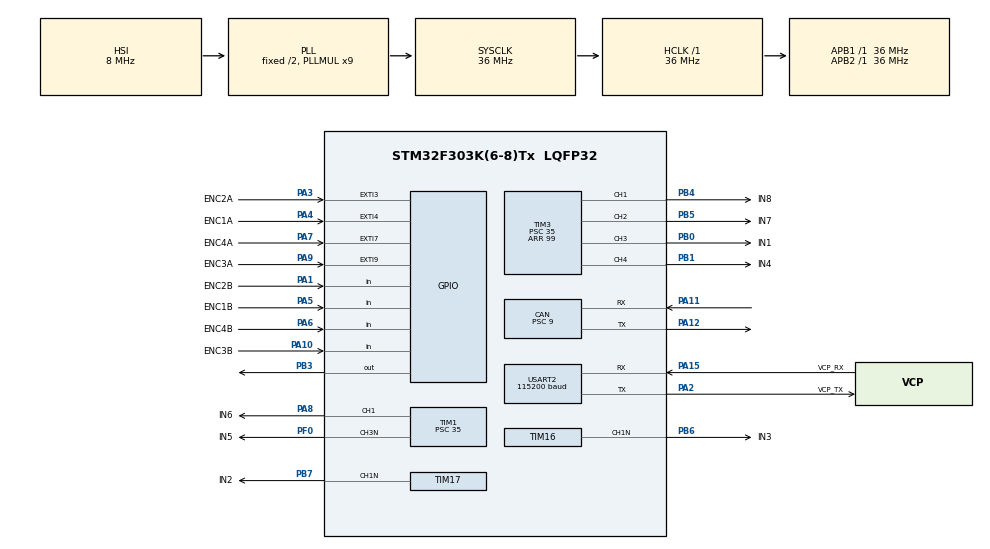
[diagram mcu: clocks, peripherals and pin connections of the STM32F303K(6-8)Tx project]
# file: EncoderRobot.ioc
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CAN.ABOM=ENABLE
CAN.AWUM=ENABLE
CAN.BS1=CAN_BS1_13TQ
CAN.BS2=CAN_BS2_2TQ
CAN.CalculateBaudRate=250000
CAN.CalculateTimeBit=4000
CAN.CalculateTimeQuantum=250.0
CAN.NART=ENABLE
CAN.Prescaler=9
CAN.RFLM=ENABLE
CAN.TTCM=ENABLE
CAN.TXFP=ENABLE
Mcu.Family=STM32F3
Mcu.Name=STM32F303K(6-8)Tx
Mcu.Package=LQFP32
NVIC.CAN_RX0_IRQn=true\:1\:0\:true\:false\:true\:true\:true\:true
NVIC.PriorityGroup=NVIC_PRIORITYGROUP_4
NVIC.TIM6_DAC1_IRQn=true\:0\:0\:true\:false\:true\:true\:true\:true
PA1.GPIO_Label=ENC2B
PA1.GPIO_PuPd=GPIO_PULLUP
PA1.Signal=GPIO_Input
PA10.GPIO_Label=ENC3B
PA10.GPIO_PuPd=GPIO_PULLUP
PA10.Signal=GPIO_Input
PA11.Mode=CAN_Activate
PA11.Signal=CAN_RX
PA12.Mode=CAN_Activate
PA12.Signal=CAN_TX
PA13.GPIO_Label=SWDIO
PA13.Mode=Serial_Wire
PA13.Signal=SYS_JTMS-SWDIO
PA14.GPIO_Label=SWCLK
PA14.Mode=Serial_Wire
PA14.Signal=SYS_JTCK-SWCLK
PA15.GPIO_Label=VCP_RX
PA15.Mode=Asynchronous
PA15.Signal=USART2_RX
PA2.GPIO_Label=VCP_TX
PA2.Mode=Asynchronous
PA2.Signal=USART2_TX
PA3.GPIO_Label=ENC2A
PA3.GPIO_PuPd=GPIO_PULLUP
PA3.Signal=GPXTI3
PA4.GPIO_Label=ENC1A
PA4.GPIO_PuPd=GPIO_PULLUP
PA4.Signal=GPXTI4
PA5.GPIO_Label=ENC1B
PA5.GPIO_PuPd=GPIO_PULLUP
PA5.Signal=GPIO_Input
PA6.GPIO_Label=ENC4B
PA6.GPIO_PuPd=GPIO_PULLUP
PA6.Signal=GPIO_Input
PA7.GPIO_Label=ENC4A
PA7.GPIO_PuPd=GPIO_PULLUP
PA7.Signal=GPXTI7
PA8.GPIO_Label=IN6
PA8.Signal=S_TIM1_CH1
PA9.GPIO_Label=ENC3A
PA9.GPIO_PuPd=GPIO_PULLUP
PA9.Signal=GPXTI9
PB0.GPIO_Label=IN1
PB0.Signal=S_TIM3_CH3
PB1.GPIO_Label=IN4
PB1.Signal=S_TIM3_CH4
PB3.Signal=GPIO_Output
PB4.GPIO_Label=IN8
PB4.Signal=S_TIM3_CH1
PB5.GPIO_Label=IN7
PB5.Signal=S_TIM3_CH2
PB6.GPIO_Label=IN3
PB6.Mode=PWM Generation1 CH1N
PB6.Signal=TIM16_CH1N
PB7.GPIO_Label=IN2
PB7.Mode=PWM Generation1 CH1N
PB7.Signal=TIM17_CH1N
PF0\ /\ OSC_IN.GPIO_Label=IN5
PF0\ /\ OSC_IN.Mode=PWM Generation3 CH3N
PF0\ /\ OSC_IN.Signal=TIM1_CH3N
ProjectManager.HeapSize=0x200
ProjectManager.StackSize=0x400
ProjectManager.TargetToolchain=STM32CubeIDE
RCC.AHBFreq_Value=36000000
RCC.APB1Freq_Value=36000000
RCC.APB1TimFreq_Value=36000000
RCC.APB2Freq_Value=36000000
RCC.APB2TimFreq_Value=36000000
RCC.CortexFreq_Value=36000000
RCC.HCLKFreq_Value=36000000
RCC.HSE_VALUE=8000000
RCC.HSI_VALUE=8000000
RCC.PLLMUL=RCC_PLL_MUL9
RCC.SYSCLKFreq_VALUE=36000000
RCC.SYSCLKSourceVirtual=RCC_SYSCLKSOURCE_PLLCLK
SH.S_TIM1_CH1.0=TIM1_CH1,PWM Generation1 CH1
SH.S_TIM3_CH1.0=TIM3_CH1,PWM Generation1 CH1
SH.S_TIM3_CH2.0=TIM3_CH2,PWM Generation2 CH2
SH.S_TIM3_CH3.0=TIM3_CH3,PWM Generation3 CH3
SH.S_TIM3_CH4.0=TIM3_CH4,PWM Generation4 CH4
TIM1.Channel-PWM\ Generation1\ CH1=TIM_CHANNEL_1
TIM1.Channel-PWM\ Generation3\ CH3N=TIM_CHANNEL_3
TIM1.Period=99
TIM1.Prescaler=35
TIM16.Channel=TIM_CHANNEL_1
TIM16.Period=99
TIM16.Prescaler=35
TIM17.Channel=TIM_CHANNEL_1
TIM17.Period=99
TIM17.Prescaler=35
TIM2.Channel-PWM\ Generation1\ CH1=TIM_CHANNEL_1
TIM3.Channel-PWM\ Generation1\ CH1=TIM_CHANNEL_1
TIM3.Channel-PWM\ Generation2\ CH2=TIM_CHANNEL_2
TIM3.Channel-PWM\ Generation3\ CH3=TIM_CHANNEL_3
TIM3.Channel-PWM\ Generation4\ CH4=TIM_CHANNEL_4
TIM3.Period=99
TIM3.Prescaler=35
TIM6.Period=199
TIM6.Prescaler=35
USART2.BaudRate=115200
USART2.VirtualMode-Asynchronous=VM_ASYNC
VP_TIM16_VS_ClockSourceINT.Mode=Enable_Timer
VP_TIM17_VS_ClockSourceINT.Mode=Enable_Timer
VP_TIM1_VS_ClockSourceINT.Mode=Internal
VP_TIM2_VS_ClockSourceINT.Mode=Internal
VP_TIM3_VS_ClockSourceINT.Mode=Internal
VP_TIM6_VS_ClockSourceINT.Mode=Enable_Timer
board=NUCLEO-F303K8

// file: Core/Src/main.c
/* USER CODE BEGIN Header */
/**
 ******************************************************************************
 * @file           : main.c
 * @brief          : Main program body
 ******************************************************************************
 * @attention
 *
 * Copyright (c) 2023 STMicroelectronics.
 * All rights reserved.
 *
 * This software is licensed under terms that can be found in the LICENSE file
 * in the root directory of this software component.
 * If no LICENSE file comes with this software, it is provided AS-IS.
 *
 ******************************************************************************
 */
/* USER CODE END Header */
#include "main.h"

/* USER CODE BEGIN Includes */
#include <stdio.h>
#include "control_motores.h"
#include "comunicaciones.h"
/* USER CODE END Includes */

/* USER CODE BEGIN PD */
void setCanFilter();
/* USER CODE END PD */

CAN_HandleTypeDef hcan;

TIM_HandleTypeDef htim1;
TIM_HandleTypeDef htim2;
TIM_HandleTypeDef htim3;
TIM_HandleTypeDef htim6;
TIM_HandleTypeDef htim16;
TIM_HandleTypeDef htim17;

UART_HandleTypeDef huart2;

/* USER CODE BEGIN PV */
int bandera = 0;
int16_t contIzqTras = 0;
float contIzqTrasMedia = 0;
float contIzqTrasTemp = 0;
int16_t contIzqDel = 0;
float contIzqDelMedia = 0;
float contIzqDelTemp = 0;
int16_t contDchDel = 0;
float contDchDelMedia = 0;
float contDchDelTemp = 0;
int16_t contDchTras = 0;
float contDchTrasMedia = 0;
float contDchTrasTemp = 0;

float rpmIzqTras;
float rpmIzqDel;
float rpmDchDel;
float rpmDchTras;

float filtRpmIzqTras;
float filtRpmIzqDel;
float filtRpmDchDel;
float filtRpmDchTras;

struct pid_motor PIDmotorIzqTras;
struct pid_motor PIDmotorIzqDel;
struct pid_motor PIDmotorDchTras;
struct pid_motor PIDmotorDchDel;

uint8_t RxData[8];
uint8_t TxData[8];
CAN_RxHeaderTypeDef RxHeader;
CAN_TxHeaderTypeDef TxHeader;
uint32_t TxMailbox;

/* USER CODE END PV */

void SystemClock_Config(void);
static void MX_GPIO_Init(void);
static void MX_USART2_UART_Init(void);
static void MX_CAN_Init(void);
static void MX_TIM1_Init(void);
static void MX_TIM3_Init(void);
static void MX_TIM16_Init(void);
static void MX_TIM17_Init(void);
static void MX_TIM2_Init(void);
static void MX_TIM6_Init(void);

int main(void)
{

  /* MCU Configuration--------------------------------------------------------*/

  /* Reset of all peripherals, Initializes the Flash interface and the Systick. */
  HAL_Init();

  /* Configure the system clock */
  SystemClock_Config();

  /* Initialize all configured peripherals */
  MX_GPIO_Init();
  MX_USART2_UART_Init();
  MX_CAN_Init();
  MX_TIM1_Init();
  MX_TIM3_Init();
  MX_TIM16_Init();
  MX_TIM17_Init();
  MX_TIM2_Init();
  MX_TIM6_Init();
  /* USER CODE BEGIN 2 */
	HAL_TIM_Base_Start_IT(&htim6);
	setCanFilter();
	initMotores();
	PIDmotorIzqTras.velDeseada = 0; //MAX 120
	PIDmotorIzqDel.velDeseada = 0;
	PIDmotorDchTras.velDeseada = 0;
	PIDmotorDchDel.velDeseada = 0;
	//motorIzqDel(100);
	//motorIzqTras(100);
	//motorDchDel(100);
	//motorDchTras(100);
  /* USER CODE END 2 */

  /* Infinite loop */
  /* USER CODE BEGIN WHILE */
	while (1) {
		if (bandera == 1) {
			bandera = 0;

			//HAL_GPIO_TogglePin(GPIOB, GPIO_PIN_3);
			calculaRPM();

			char buffer[16];
			//HAL_UART_Transmit(&huart2, (uint8_t*) buffer,
			//		sprintf(buffer, "c1:%d c2:%d c3:%d c4:%d \n", cont1, cont2,
			//				cont3, cont4), 500);

			HAL_UART_Transmit(&huart2, (uint8_t*) buffer,
					sprintf(buffer, "c1:%.2f c2:%.2f c3:%.2f c3:%.2f\n",
							rpmIzqDel, rpmDchDel, rpmIzqTras, rpmDchTras), 500);
			enviarDatosCan();
		}

    /* USER CODE END WHILE */

	}
}

void SystemClock_Config(void)
{
  RCC_OscInitTypeDef RCC_OscInitStruct = {0};
  RCC_ClkInitTypeDef RCC_ClkInitStruct = {0};
  RCC_PeriphCLKInitTypeDef PeriphClkInit = {0};

  /** Initializes the RCC Oscillators according to the specified parameters
  * in the RCC_OscInitTypeDef structure.
  */
  RCC_OscInitStruct.OscillatorType = RCC_OSCILLATORTYPE_HSI;
  RCC_OscInitStruct.HSIState = RCC_HSI_ON;
  RCC_OscInitStruct.HSICalibrationValue = RCC_HSICALIBRATION_DEFAULT;
  RCC_OscInitStruct.PLL.PLLState = RCC_PLL_ON;
  RCC_OscInitStruct.PLL.PLLSource = RCC_PLLSOURCE_HSI;
  RCC_OscInitStruct.PLL.PLLMUL = RCC_PLL_MUL9;
  if (HAL_RCC_OscConfig(&RCC_OscInitStruct) != HAL_OK)
  {
    Error_Handler();
  }

  /** Initializes the CPU, AHB and APB buses clocks
  */
  RCC_ClkInitStruct.ClockType = RCC_CLOCKTYPE_HCLK|RCC_CLOCKTYPE_SYSCLK
                              |RCC_CLOCKTYPE_PCLK1|RCC_CLOCKTYPE_PCLK2;
  RCC_ClkInitStruct.SYSCLKSource = RCC_SYSCLKSOURCE_PLLCLK;
  RCC_ClkInitStruct.AHBCLKDivider = RCC_SYSCLK_DIV1;
  RCC_ClkInitStruct.APB1CLKDivider = RCC_HCLK_DIV1;
  RCC_ClkInitStruct.APB2CLKDivider = RCC_HCLK_DIV1;

  if (HAL_RCC_ClockConfig(&RCC_ClkInitStruct, FLASH_LATENCY_1) != HAL_OK)
  {
    Error_Handler();
  }
  PeriphClkInit.PeriphClockSelection = RCC_PERIPHCLK_TIM1;
  PeriphClkInit.Tim1ClockSelection = RCC_TIM1CLK_HCLK;
  if (HAL_RCCEx_PeriphCLKConfig(&PeriphClkInit) != HAL_OK)
  {
    Error_Handler();
  }
}

static void MX_CAN_Init(void)
{

  hcan.Instance = CAN;
  hcan.Init.Prescaler = 9;
  hcan.Init.Mode = CAN_MODE_NORMAL;
  hcan.Init.SyncJumpWidth = CAN_SJW_1TQ;
  hcan.Init.TimeSeg1 = CAN_BS1_13TQ;
  hcan.Init.TimeSeg2 = CAN_BS2_2TQ;
  hcan.Init.TimeTriggeredMode = ENABLE;
  hcan.Init.AutoBusOff = ENABLE;
  hcan.Init.AutoWakeUp = ENABLE;
  hcan.Init.AutoRetransmission = DISABLE;
  hcan.Init.ReceiveFifoLocked = ENABLE;
  hcan.Init.TransmitFifoPriority = ENABLE;
  if (HAL_CAN_Init(&hcan) != HAL_OK)
  {
    Error_Handler();
  }

}

static void MX_TIM1_Init(void)
{

  TIM_ClockConfigTypeDef sClockSourceConfig = {0};
  TIM_MasterConfigTypeDef sMasterConfig = {0};
  TIM_OC_InitTypeDef sConfigOC = {0};
  TIM_BreakDeadTimeConfigTypeDef sBreakDeadTimeConfig = {0};

  htim1.Instance = TIM1;
  htim1.Init.Prescaler = 35;
  htim1.Init.CounterMode = TIM_COUNTERMODE_UP;
  htim1.Init.Period = 99;
  htim1.Init.ClockDivision = TIM_CLOCKDIVISION_DIV1;
  htim1.Init.RepetitionCounter = 0;
  htim1.Init.AutoReloadPreload = TIM_AUTORELOAD_PRELOAD_DISABLE;
  if (HAL_TIM_Base_Init(&htim1) != HAL_OK)
  {
    Error_Handler();
  }
  sClockSourceConfig.ClockSource = TIM_CLOCKSOURCE_INTERNAL;
  if (HAL_TIM_ConfigClockSource(&htim1, &sClockSourceConfig) != HAL_OK)
  {
    Error_Handler();
  }
  if (HAL_TIM_PWM_Init(&htim1) != HAL_OK)
  {
    Error_Handler();
  }
  sMasterConfig.MasterOutputTrigger = TIM_TRGO_RESET;
  sMasterConfig.MasterOutputTrigger2 = TIM_TRGO2_RESET;
  sMasterConfig.MasterSlaveMode = TIM_MASTERSLAVEMODE_DISABLE;
  if (HAL_TIMEx_MasterConfigSynchronization(&htim1, &sMasterConfig) != HAL_OK)
  {
    Error_Handler();
  }
  sConfigOC.OCMode = TIM_OCMODE_PWM1;
  sConfigOC.Pulse = 0;
  sConfigOC.OCPolarity = TIM_OCPOLARITY_HIGH;
  sConfigOC.OCNPolarity = TIM_OCNPOLARITY_HIGH;
  sConfigOC.OCFastMode = TIM_OCFAST_DISABLE;
  sConfigOC.OCIdleState = TIM_OCIDLESTATE_RESET;
  sConfigOC.OCNIdleState = TIM_OCNIDLESTATE_RESET;
  if (HAL_TIM_PWM_ConfigChannel(&htim1, &sConfigOC, TIM_CHANNEL_1) != HAL_OK)
  {
    Error_Handler();
  }
  if (HAL_TIM_PWM_ConfigChannel(&htim1, &sConfigOC, TIM_CHANNEL_3) != HAL_OK)
  {
    Error_Handler();
  }
  sBreakDeadTimeConfig.OffStateRunMode = TIM_OSSR_DISABLE;
  sBreakDeadTimeConfig.OffStateIDLEMode = TIM_OSSI_DISABLE;
  sBreakDeadTimeConfig.LockLevel = TIM_LOCKLEVEL_OFF;
  sBreakDeadTimeConfig.DeadTime = 0;
  sBreakDeadTimeConfig.BreakState = TIM_BREAK_DISABLE;
  sBreakDeadTimeConfig.BreakPolarity = TIM_BREAKPOLARITY_HIGH;
  sBreakDeadTimeConfig.BreakFilter = 0;
  sBreakDeadTimeConfig.Break2State = TIM_BREAK2_DISABLE;
  sBreakDeadTimeConfig.Break2Polarity = TIM_BREAK2POLARITY_HIGH;
  sBreakDeadTimeConfig.Break2Filter = 0;
  sBreakDeadTimeConfig.AutomaticOutput = TIM_AUTOMATICOUTPUT_DISABLE;
  if (HAL_TIMEx_ConfigBreakDeadTime(&htim1, &sBreakDeadTimeConfig) != HAL_OK)
  {
    Error_Handler();
  }
  HAL_TIM_MspPostInit(&htim1);

}

static void MX_TIM2_Init(void)
{

  TIM_ClockConfigTypeDef sClockSourceConfig = {0};
  TIM_MasterConfigTypeDef sMasterConfig = {0};

  htim2.Instance = TIM2;
  htim2.Init.Prescaler = 0;
  htim2.Init.CounterMode = TIM_COUNTERMODE_UP;
  htim2.Init.Period = 4294967295;
  htim2.Init.ClockDivision = TIM_CLOCKDIVISION_DIV1;
  htim2.Init.AutoReloadPreload = TIM_AUTORELOAD_PRELOAD_DISABLE;
  if (HAL_TIM_Base_Init(&htim2) != HAL_OK)
  {
    Error_Handler();
  }
  sClockSourceConfig.ClockSource = TIM_CLOCKSOURCE_INTERNAL;
  if (HAL_TIM_ConfigClockSource(&htim2, &sClockSourceConfig) != HAL_OK)
  {
    Error_Handler();
  }
  sMasterConfig.MasterOutputTrigger = TIM_TRGO_RESET;
  sMasterConfig.MasterSlaveMode = TIM_MASTERSLAVEMODE_DISABLE;
  if (HAL_TIMEx_MasterConfigSynchronization(&htim2, &sMasterConfig) != HAL_OK)
  {
    Error_Handler();
  }

}

static void MX_TIM3_Init(void)
{

  TIM_ClockConfigTypeDef sClockSourceConfig = {0};
  TIM_MasterConfigTypeDef sMasterConfig = {0};
  TIM_OC_InitTypeDef sConfigOC = {0};

  htim3.Instance = TIM3;
  htim3.Init.Prescaler = 35;
  htim3.Init.CounterMode = TIM_COUNTERMODE_UP;
  htim3.Init.Period = 99;
  htim3.Init.ClockDivision = TIM_CLOCKDIVISION_DIV1;
  htim3.Init.AutoReloadPreload = TIM_AUTORELOAD_PRELOAD_DISABLE;
  if (HAL_TIM_Base_Init(&htim3) != HAL_OK)
  {
    Error_Handler();
  }
  sClockSourceConfig.ClockSource = TIM_CLOCKSOURCE_INTERNAL;
  if (HAL_TIM_ConfigClockSource(&htim3, &sClockSourceConfig) != HAL_OK)
  {
    Error_Handler();
  }
  if (HAL_TIM_PWM_Init(&htim3) != HAL_OK)
  {
    Error_Handler();
  }
  sMasterConfig.MasterOutputTrigger = TIM_TRGO_RESET;
  sMasterConfig.MasterSlaveMode = TIM_MASTERSLAVEMODE_DISABLE;
  if (HAL_TIMEx_MasterConfigSynchronization(&htim3, &sMasterConfig) != HAL_OK)
  {
    Error_Handler();
  }
  sConfigOC.OCMode = TIM_OCMODE_PWM1;
  sConfigOC.Pulse = 0;
  sConfigOC.OCPolarity = TIM_OCPOLARITY_HIGH;
  sConfigOC.OCFastMode = TIM_OCFAST_DISABLE;
  if (HAL_TIM_PWM_ConfigChannel(&htim3, &sConfigOC, TIM_CHANNEL_1) != HAL_OK)
  {
    Error_Handler();
  }
  if (HAL_TIM_PWM_ConfigChannel(&htim3, &sConfigOC, TIM_CHANNEL_2) != HAL_OK)
  {
    Error_Handler();
  }
  if (HAL_TIM_PWM_ConfigChannel(&htim3, &sConfigOC, TIM_CHANNEL_3) != HAL_OK)
  {
    Error_Handler();
  }
  if (HAL_TIM_PWM_ConfigChannel(&htim3, &sConfigOC, TIM_CHANNEL_4) != HAL_OK)
  {
    Error_Handler();
  }
  HAL_TIM_MspPostInit(&htim3);

}

static void MX_TIM6_Init(void)
{

  TIM_MasterConfigTypeDef sMasterConfig = {0};

  htim6.Instance = TIM6;
  htim6.Init.Prescaler = 35;
  htim6.Init.CounterMode = TIM_COUNTERMODE_UP;
  htim6.Init.Period = 199;
  htim6.Init.AutoReloadPreload = TIM_AUTORELOAD_PRELOAD_DISABLE;
  if (HAL_TIM_Base_Init(&htim6) != HAL_OK)
  {
    Error_Handler();
  }
  sMasterConfig.MasterOutputTrigger = TIM_TRGO_RESET;
  sMasterConfig.MasterSlaveMode = TIM_MASTERSLAVEMODE_DISABLE;
  if (HAL_TIMEx_MasterConfigSynchronization(&htim6, &sMasterConfig) != HAL_OK)
  {
    Error_Handler();
  }

}

static void MX_TIM16_Init(void)
{

  TIM_OC_InitTypeDef sConfigOC = {0};
  TIM_BreakDeadTimeConfigTypeDef sBreakDeadTimeConfig = {0};

  htim16.Instance = TIM16;
  htim16.Init.Prescaler = 35;
  htim16.Init.CounterMode = TIM_COUNTERMODE_UP;
  htim16.Init.Period = 99;
  htim16.Init.ClockDivision = TIM_CLOCKDIVISION_DIV1;
  htim16.Init.RepetitionCounter = 0;
  htim16.Init.AutoReloadPreload = TIM_AUTORELOAD_PRELOAD_DISABLE;
  if (HAL_TIM_Base_Init(&htim16) != HAL_OK)
  {
    Error_Handler();
  }
  if (HAL_TIM_PWM_Init(&htim16) != HAL_OK)
  {
    Error_Handler();
  }
  sConfigOC.OCMode = TIM_OCMODE_PWM1;
  sConfigOC.Pulse = 0;
  sConfigOC.OCPolarity = TIM_OCPOLARITY_HIGH;
  sConfigOC.OCNPolarity = TIM_OCNPOLARITY_HIGH;
  sConfigOC.OCFastMode = TIM_OCFAST_DISABLE;
  sConfigOC.OCIdleState = TIM_OCIDLESTATE_RESET;
  sConfigOC.OCNIdleState = TIM_OCNIDLESTATE_RESET;
  if (HAL_TIM_PWM_ConfigChannel(&htim16, &sConfigOC, TIM_CHANNEL_1) != HAL_OK)
  {
    Error_Handler();
  }
  sBreakDeadTimeConfig.OffStateRunMode = TIM_OSSR_DISABLE;
  sBreakDeadTimeConfig.OffStateIDLEMode = TIM_OSSI_DISABLE;
  sBreakDeadTimeConfig.LockLevel = TIM_LOCKLEVEL_OFF;
  sBreakDeadTimeConfig.DeadTime = 0;
  sBreakDeadTimeConfig.BreakState = TIM_BREAK_DISABLE;
  sBreakDeadTimeConfig.BreakPolarity = TIM_BREAKPOLARITY_HIGH;
  sBreakDeadTimeConfig.BreakFilter = 0;
  sBreakDeadTimeConfig.AutomaticOutput = TIM_AUTOMATICOUTPUT_DISABLE;
  if (HAL_TIMEx_ConfigBreakDeadTime(&htim16, &sBreakDeadTimeConfig) != HAL_OK)
  {
    Error_Handler();
  }
  HAL_TIM_MspPostInit(&htim16);

}

static void MX_TIM17_Init(void)
{

  TIM_OC_InitTypeDef sConfigOC = {0};
  TIM_BreakDeadTimeConfigTypeDef sBreakDeadTimeConfig = {0};

  htim17.Instance = TIM17;
  htim17.Init.Prescaler = 35;
  htim17.Init.CounterMode = TIM_COUNTERMODE_UP;
  htim17.Init.Period = 99;
  htim17.Init.ClockDivision = TIM_CLOCKDIVISION_DIV1;
  htim17.Init.RepetitionCounter = 0;
  htim17.Init.AutoReloadPreload = TIM_AUTORELOAD_PRELOAD_DISABLE;
  if (HAL_TIM_Base_Init(&htim17) != HAL_OK)
  {
    Error_Handler();
  }
  if (HAL_TIM_PWM_Init(&htim17) != HAL_OK)
  {
    Error_Handler();
  }
  sConfigOC.OCMode = TIM_OCMODE_PWM1;
  sConfigOC.Pulse = 0;
  sConfigOC.OCPolarity = TIM_OCPOLARITY_HIGH;
  sConfigOC.OCNPolarity = TIM_OCNPOLARITY_HIGH;
  sConfigOC.OCFastMode = TIM_OCFAST_DISABLE;
  sConfigOC.OCIdleState = TIM_OCIDLESTATE_RESET;
  sConfigOC.OCNIdleState = TIM_OCNIDLESTATE_RESET;
  if (HAL_TIM_PWM_ConfigChannel(&htim17, &sConfigOC, TIM_CHANNEL_1) != HAL_OK)
  {
    Error_Handler();
  }
  sBreakDeadTimeConfig.OffStateRunMode = TIM_OSSR_DISABLE;
  sBreakDeadTimeConfig.OffStateIDLEMode = TIM_OSSI_DISABLE;
  sBreakDeadTimeConfig.LockLevel = TIM_LOCKLEVEL_OFF;
  sBreakDeadTimeConfig.DeadTime = 0;
  sBreakDeadTimeConfig.BreakState = TIM_BREAK_DISABLE;
  sBreakDeadTimeConfig.BreakPolarity = TIM_BREAKPOLARITY_HIGH;
  sBreakDeadTimeConfig.BreakFilter = 0;
  sBreakDeadTimeConfig.AutomaticOutput = TIM_AUTOMATICOUTPUT_DISABLE;
  if (HAL_TIMEx_ConfigBreakDeadTime(&htim17, &sBreakDeadTimeConfig) != HAL_OK)
  {
    Error_Handler();
  }
  HAL_TIM_MspPostInit(&htim17);

}

static void MX_USART2_UART_Init(void)
{

  huart2.Instance = USART2;
  huart2.Init.BaudRate = 115200;
  huart2.Init.WordLength = UART_WORDLENGTH_8B;
  huart2.Init.StopBits = UART_STOPBITS_1;
  huart2.Init.Parity = UART_PARITY_NONE;
  huart2.Init.Mode = UART_MODE_TX_RX;
  huart2.Init.HwFlowCtl = UART_HWCONTROL_NONE;
  huart2.Init.OverSampling = UART_OVERSAMPLING_16;
  huart2.Init.OneBitSampling = UART_ONE_BIT_SAMPLE_DISABLE;
  huart2.AdvancedInit.AdvFeatureInit = UART_ADVFEATURE_NO_INIT;
  if (HAL_UART_Init(&huart2) != HAL_OK)
  {
    Error_Handler();
  }

}

static void MX_GPIO_Init(void)
{
  GPIO_InitTypeDef GPIO_InitStruct = {0};

  /* GPIO Ports Clock Enable */
  __HAL_RCC_GPIOF_CLK_ENABLE();
  __HAL_RCC_GPIOA_CLK_ENABLE();
  __HAL_RCC_GPIOB_CLK_ENABLE();

  /*Configure GPIO pin Output Level */
  HAL_GPIO_WritePin(GPIOB, GPIO_PIN_3, GPIO_PIN_RESET);

  /*Configure GPIO pins : ENC2B_Pin ENC1B_Pin ENC4B_Pin ENC3B_Pin */
  GPIO_InitStruct.Pin = ENC2B_Pin|ENC1B_Pin|ENC4B_Pin|ENC3B_Pin;
  GPIO_InitStruct.Mode = GPIO_MODE_INPUT;
  GPIO_InitStruct.Pull = GPIO_PULLUP;
  HAL_GPIO_Init(GPIOA, &GPIO_InitStruct);

  /*Configure GPIO pins : ENC2A_Pin ENC1A_Pin ENC4A_Pin ENC3A_Pin */
  GPIO_InitStruct.Pin = ENC2A_Pin|ENC1A_Pin|ENC4A_Pin|ENC3A_Pin;
  GPIO_InitStruct.Mode = GPIO_MODE_IT_RISING;
  GPIO_InitStruct.Pull = GPIO_PULLUP;
  HAL_GPIO_Init(GPIOA, &GPIO_InitStruct);

  /*Configure GPIO pin : PB3 */
  GPIO_InitStruct.Pin = GPIO_PIN_3;
  GPIO_InitStruct.Mode = GPIO_MODE_OUTPUT_PP;
  GPIO_InitStruct.Pull = GPIO_NOPULL;
  GPIO_InitStruct.Speed = GPIO_SPEED_FREQ_LOW;
  HAL_GPIO_Init(GPIOB, &GPIO_InitStruct);

}

/* USER CODE BEGIN 4 */
void HAL_TIM_PeriodElapsedCallback(TIM_HandleTypeDef *htim) {
	// Check which version of the timer triggered this callback and toggle LED
	static int contador = 0;
	if (htim == &htim6) {
		contador++;
		contar();
		filtarRpm();
		updateMotor();
		if (contador == 1000) {
			contador = 0;
			bandera = 1;
		}
	}
}

void HAL_GPIO_EXTI_Callback(uint16_t GPIO_Pin) {

}
void setCanFilter() {

	CAN_FilterTypeDef CAN_FilterInitStructure;
	CAN_FilterInitStructure.FilterBank = 0; // Filter number = 0 (0<=x<=13)
	CAN_FilterInitStructure.FilterMode = CAN_FILTERMODE_IDMASK; // Filter mode = identifier mask based filtering
	CAN_FilterInitStructure.FilterScale = CAN_FILTERSCALE_32BIT;
	CAN_FilterInitStructure.FilterIdHigh = 0x0000;
	CAN_FilterInitStructure.FilterIdLow = 0x0000;
	CAN_FilterInitStructure.FilterMaskIdHigh = 0x0000;
	CAN_FilterInitStructure.FilterMaskIdLow = 0x0000;
	CAN_FilterInitStructure.FilterFIFOAssignment = CAN_RX_FIFO0; // FIFO = 0
	CAN_FilterInitStructure.FilterActivation = ENABLE;
	CAN_FilterInitStructure.SlaveStartFilterBank = 14;

	if (HAL_CAN_ConfigFilter(&hcan, &CAN_FilterInitStructure) != HAL_OK) { /* Filter configuration Error */
		//Error_Handler();
	}

	if (HAL_CAN_Start(&hcan) != HAL_OK) {
		/* Start Error */
		//Error_Handler();
	}

	/*##-4- Activate CAN RX notification #######################################*/
	if (HAL_CAN_ActivateNotification(&hcan, CAN_IT_RX_FIFO0_MSG_PENDING |CAN_IT_TX_MAILBOX_EMPTY)
			!= HAL_OK) {
		/* Notification Error */
		//Error_Handler();
	}

	if (HAL_CAN_Start(&hcan) != HAL_OK) {
		/* Start Error */
		//Error_Handler();
	}

}
void HAL_CAN_RxFifo0MsgPendingCallback(CAN_HandleTypeDef *hcan) {
	if (HAL_CAN_GetRxMessage(hcan, CAN_RX_FIFO0, &RxHeader, RxData)
			!= HAL_OK) {
		/* Reception Error */
		//Error_Handler();
	} else {
		uint32_t identificador = RxHeader.ExtId;
		if (identificador == 0x0CF11E05) {
			int16_t pwm_f_l = ((int16_t) RxData[6]) * 256 + RxData[7];
			int16_t pwm_f_r = ((int16_t) RxData[4]) * 256 + RxData[5];
			int16_t pwm_b_l = ((int16_t) RxData[2]) * 256 + RxData[3];
			int16_t pwm_b_r = ((int16_t) RxData[0]) * 256 + RxData[1];
			PIDmotorIzqTras.velDeseada = pwm_b_l / 32.0;
			PIDmotorIzqDel.velDeseada = pwm_f_l / 32.0;
			PIDmotorDchTras.velDeseada = pwm_b_r / 32.0;
			PIDmotorDchDel.velDeseada = pwm_f_r / 32.0;
		}
	}
}

/* USER CODE END 4 */

void Error_Handler(void)
{
	__disable_irq();
	while (1) {
	}
}
